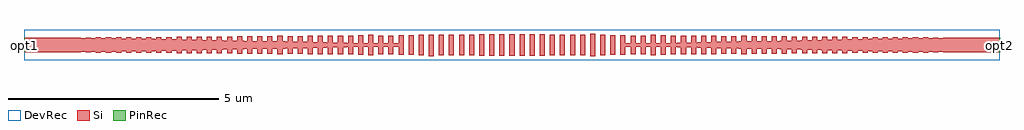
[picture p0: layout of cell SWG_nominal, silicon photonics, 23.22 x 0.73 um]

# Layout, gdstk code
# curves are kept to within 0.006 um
import gdstk
lib = gdstk.Library(unit=1e-6, precision=1e-09)
def R(c, l, rs):  # rectangles x0, y0, x1, y1
    for r in rs: c.add(gdstk.rectangle(r[:2], r[2:], *l))
def A(c, l, x, y, w, h, nx, ny, dx, dy):  # array of equal rectangles
    R(c, l, [(x+i*dx, y+j*dy, x+i*dx+w, y+j*dy+h) for i in range(nx) for j in range(ny)])
def P(c, l, *ps):  # polygons
    for p in ps: c.add(gdstk.Polygon(p, *l))
Si = (1, 0)
PinRec = (1, 10)
DevRec = (68, 0)

swg_nominal = lib.new_cell('SWG_nominal')
A(swg_nominal, Si, 11.06, -0.25, 0.12, 0.5, 3, 1, 0.24, 0)
A(swg_nominal, Si, 11.54, -0.25, 0.12, 0.5, 3, 1, 0.24, 0)
R(swg_nominal, Si, [(9.62,-0.267,9.74,0.247), (13.46,-0.267,13.58,0.267), (10.82,-0.253,10.94,0.253), (12.26,-0.253,12.38,0.253), (10.1,-0.246,10.22,0.246), (12.98,-0.246,13.1,0.246), (10.34,-0.244,10.46,0.244), (12.74,-0.244,12.86,0.244), (10.58,-0.243,10.7,0.243), (12.5,-0.243,12.62,0.243), (9.38,-0.242,9.5,0.242), (13.7,-0.242,13.82,0.242), (9.86,-0.24,9.98,0.24), (13.22,-0.24,13.34,0.24), (8.18,-0.238,8.3,0.238), (14.9,-0.238,15.02,0.238), (8.9,-0.237,9.02,0.237), (9.14,-0.237,9.26,0.237), (13.94,-0.237,14.06,0.237), (14.18,-0.237,14.3,0.237), (7.94,-0.227,8.06,0.227), (15.14,-0.227,15.26,0.227), (8.66,-0.226,8.78,0.226), (14.42,-0.226,14.54,0.226), (7.7,-0.224,7.82,0.224), (15.38,-0.224,15.5,0.224), (6.98,-0.222,7.1,0.222), (8.42,-0.222,8.54,0.222), (14.66,-0.222,14.78,0.222), (16.1,-0.222,16.22,0.222), (7.22,-0.221,7.34,0.221), (7.46,-0.221,7.58,0.221), (15.62,-0.221,15.74,0.221), (15.86,-0.221,15.98,0.221), (6.74,-0.216,6.86,0.216), (16.34,-0.216,16.46,0.216), (6.02,-0.215,6.14,0.215), (17.06,-0.215,17.18,0.215), (6.26,-0.214,6.38,0.214), (16.82,-0.214,16.94,0.214), (6.5,-0.211,6.62,0.211), (16.58,-0.211,16.7,0.211), (5.3,-0.208,5.42,0.208), (17.78,-0.208,17.9,0.208), (5.06,-0.206,5.18,0.206), (18.02,-0.206,18.14,0.206), (5.54,-0.205,5.66,0.205), (17.54,-0.205,17.66,0.205), (5.78,-0.204,5.9,0.204), (17.3,-0.204,17.42,0.204), (4.82,-0.201,4.94,0.201), (18.26,-0.201,18.38,0.201), (4.1,-0.2,4.22,0.2), (18.98,-0.2,19.1,0.2), (4.34,-0.199,4.46,0.199), (18.74,-0.199,18.86,0.199), (4.58,-0.198,4.7,0.198), (18.5,-0.198,18.62,0.198), (3.86,-0.196,3.98,0.196), (19.22,-0.196,19.34,0.196), (3.62,-0.191,3.74,0.191), (19.46,-0.191,19.58,0.191), (2.9,-0.189,3.02,0.189), (20.18,-0.189,20.3,0.189), (3.14,-0.188,3.26,0.188), (19.94,-0.188,20.06,0.188), (3.38,-0.187,3.5,0.187), (19.7,-0.187,19.82,0.187), (2.66,-0.185,2.78,0.185), (20.42,-0.185,20.54,0.185), (2.42,-0.183,2.54,0.183), (20.66,-0.183,20.78,0.183), (1.94,-0.181,2.06,0.181), (2.18,-0.181,2.3,0.181), (20.9,-0.181,21.02,0.181), (21.14,-0.181,21.26,0.181), (1.7,-0.18,1.82,0.18), (21.38,-0.18,21.5,0.18), (1.46,-0.176,1.58,0.176), (21.62,-0.176,21.74,0.176), (0,-0.175,0.98,0.175), (22.22,-0.175,23.2,0.175), (1.22,-0.174,1.34,0.174), (21.86,-0.174,21.98,0.174)])
P(swg_nominal, Si, [(0.98,-0.175),(0.98,0.175),(6.694,0.077),(8,0.041),(8.98,0.04),(8.98,-0.04),(8,-0.041),(6.694,-0.077)],
  [(22.22,-0.175),(16.506,-0.077),(15.2,-0.041),(14.22,-0.04),(14.22,0.04),(15.2,0.041),(16.506,0.077),(22.22,0.175)])
P(swg_nominal, DevRec, [(0,-0.365),(0,0.365),(23.2,0.365),(23.2,-0.365),(9.82,-0.365)])
swg_nominal.add(gdstk.FlexPath([(0.01,0),(-0.01,0)], 0.35, ends="flush", simple_path=True, layer=1, datatype=10))  # PinRec
swg_nominal.add(gdstk.FlexPath([(23.19,0),(23.21,0)], 0.35, ends="flush", simple_path=True, layer=1, datatype=10))  # PinRec
swg_nominal.add(gdstk.Label('opt2', (23.2,0), layer=1, texttype=10))
swg_nominal.add(gdstk.Label('opt1', (0,0), layer=1, texttype=10))

lib.write_gds('SWG_nominal.gds')
